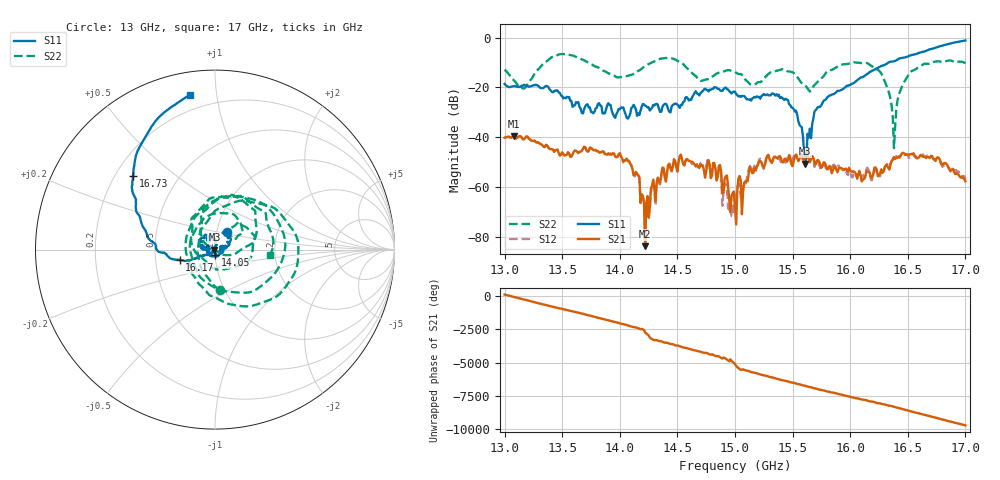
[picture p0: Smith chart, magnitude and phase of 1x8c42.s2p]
!Keysight Technologies,P9374A,MY57211807,A.19.30.04
!Date: Friday, May 08, 2026 15:11:16
!Correction: S11(C  2-Port  )
!S21(C  2-Port  )
!S12(C  2-Port  )
!S22(C  2-Port  )
!S2P File: Measurements: S11, S21, S12, S22:
# Hz S  dB  R 50
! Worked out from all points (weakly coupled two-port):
!   401 points, 13 GHz to 17 GHz, reference 50 ohm
!   highest |S21| = -39.44 dB at 13.08 GHz (marker M1); lowest = -83.6 dB at 14.22 GHz (marker M2)
!   lowest |S11| = -50.6 dB at 15.61 GHz (marker M3), VSWR 1.01, Z = 49.7 + j0.0216 ohm
!   |S11| at or under -10 dB: start of sweep to 16.33 GHz
!   |S22| runs from -44.3 to -6.6 dB; largest |S21 - S12| = 0.00088
!   S11 on the Smith chart (normalised r, x): 13 GHz: 1.12, +0.22; 14.05 GHz: 1.00, -0.06; 16.17 GHz: 0.67, -0.08; 16.73 GHz: 0.27, +0.36; 17 GHz: 0.12, +0.85
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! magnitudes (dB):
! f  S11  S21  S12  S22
! 13 GHz  -18.6  -40.2  -40.1  -12.9
! 13.08 GHz  -19.6  -39.4  -39.5  -17.1
! 13.67 GHz  -30.2  -45.4  -45.2  -8.7
! 14.05 GHz  -30.7  -49.2  -49.3  -15.6
! 14.15 GHz  -31.4  -54.5  -54.6  -13.6
! 14.22 GHz  -27.3  -83.6  -81.1  -11.5
! 14.34 GHz  -28.6  -57.7  -58.6  -8.7
! 14.6 GHz  -25.3  -49.5  -49.4  -12.9
! 14.85 GHz  -20.6  -55.8  -56.2  -14.3
! 14.96 GHz  -21.9  -70.0  -67.7  -13.2
! 15 GHz  -21.7  -68.3  -64.2  -13.8
! 15.21 GHz  -23.8  -49.5  -48.8  -17.9
! 15.44 GHz  -24.5  -48.5  -50.1  -13.2
! 15.61 GHz  -50.6  -47.7  -46.6  -19.2
! 15.67 GHz  -34.7  -47.5  -47.6  -20.5
! 15.79 GHz  -24.8  -51.4  -52.5  -14.1
! 16.17 GHz  -13.8  -54.1  -54.3  -10.9
! 16.34 GHz  -9.9  -52.9  -51.0  -22.7
! 16.38 GHz  -9.5  -47.9  -47.2  -44.3
! 16.51 GHz  -7.4  -47.2  -48.2  -14.6
! 16.73 GHz  -4.2  -48.9  -48.6  -9.7
! 17 GHz  -1.2  -57.6  -56.8  -10.3
